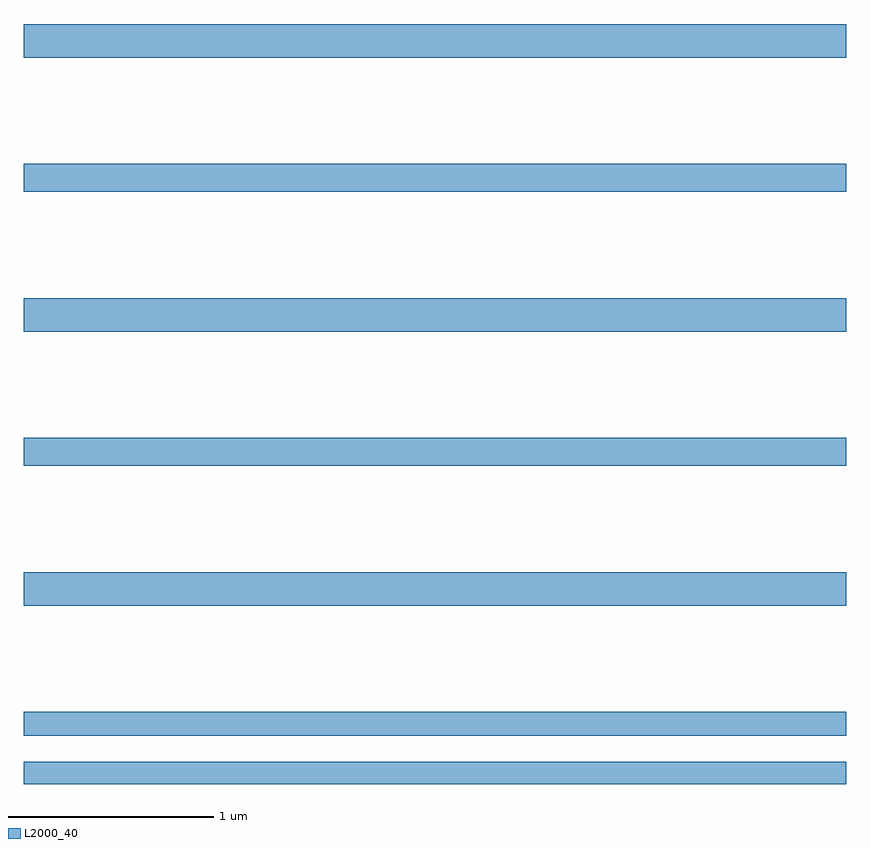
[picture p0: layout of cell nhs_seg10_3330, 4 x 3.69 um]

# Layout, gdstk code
import gdstk
lib = gdstk.Library(unit=1e-6, precision=1e-09)
def R(c, l, rs):  # rectangles x0, y0, x1, y1
    for r in rs: c.add(gdstk.rectangle(r[:2], r[2:], *l))
def A(c, l, x, y, w, h, nx, ny, dx, dy):  # array of equal rectangles
    R(c, l, [(x+i*dx, y+j*dy, x+i*dx+w, y+j*dy+h) for i in range(nx) for j in range(ny)])
L2000_40 = (2000, 40)

nhs_seg10_3330 = lib.new_cell('nhs_seg10_3330')
A(nhs_seg10_3330, L2000_40, 291, 1313.636, 4, 0.164, 1, 3, 0, 1.332)
R(nhs_seg10_3330, L2000_40, [(291,1312.77,295,1312.878), (291,1313.004,295,1313.12), (291,1314.316,295,1314.452), (291,1315.648,295,1315.784)])

lib.write_gds('nhs_seg10_3330.gds')
